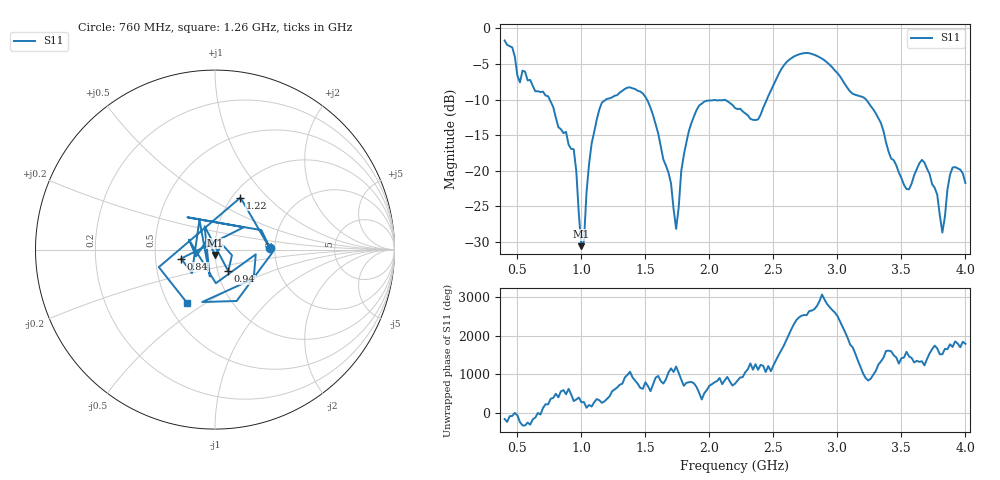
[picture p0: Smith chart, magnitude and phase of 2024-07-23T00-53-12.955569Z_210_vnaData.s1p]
!Created with skrf (http://scikit-rf.org).
# Hz S RI R 50.0
!freq ReS11 ImS11
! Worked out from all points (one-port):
!   181 points, 400 MHz to 4 GHz, reference 50 ohm
!   lowest |S11| = -30.6 dB at 1 GHz (marker M1), VSWR 1.06, Z = 49.9 - j2.94 ohm
!   |S11| at or under -10 dB: 752.1 MHz to 1.192 GHz (440.1 MHz wide, 45.3 % of centre); 1.512 GHz to 2.449 GHz (937.1 MHz wide, 47.3 % of centre); 3.224 GHz to end of sweep
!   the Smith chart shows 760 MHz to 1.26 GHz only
!   S11 on the Smith chart (normalised r, x): 760 MHz: 1.88, +0.04; 840 MHz: 0.68, -0.07; 940 MHz: 1.12, -0.28; 1.22 GHz: 1.09, +0.71; 1.26 GHz: 0.62, -0.42
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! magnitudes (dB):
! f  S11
! 400 MHz  -1.7
! 520 MHz  -7.6
! 760 MHz  -10.3
! 840 MHz  -14.2
! 860 MHz  -14.7
! 940 MHz  -17.0
! 1 GHz  -30.6
! 1.02 GHz  -29.9
! 1.08 GHz  -16.2
! 1.22 GHz  -9.8
! 1.26 GHz  -9.5
! 1.3 GHz  -9.0
! 1.52 GHz  -10.3
! 1.7 GHz  -21.8
! 1.74 GHz  -28.2
! 1.76 GHz  -25.2
! 1.8 GHz  -17.8
! 1.9 GHz  -11.5
! 2.2 GHz  -11.2
! 2.38 GHz  -12.8
! 2.66 GHz  -4.0
! 3.1 GHz  -8.9
! 3.3 GHz  -11.9
! 3.56 GHz  -22.6
! 3.68 GHz  -18.9
! 3.82 GHz  -28.7
! 3.9 GHz  -19.6
! 4 GHz  -21.7
